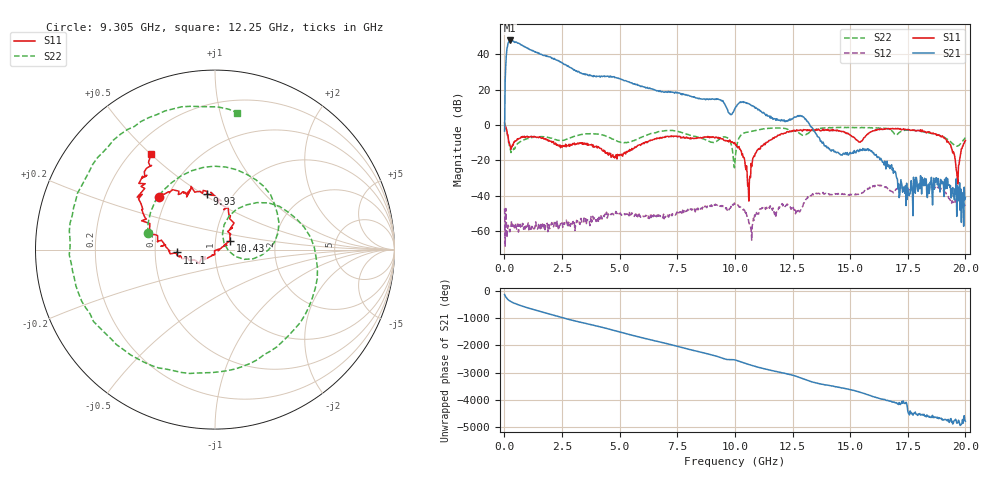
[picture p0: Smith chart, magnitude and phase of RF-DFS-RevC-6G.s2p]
!Agilent Technologies,E8363B,SG43030126,A.07.50.67
!Agilent E8363B: A.07.50.67
!Date: Thursday, May 04, 1989 06:40:03
!Correction: S11(Full 2 Port(1,2))
!S21(Full 2 Port(1,2))
!S12(Full 2 Port(1,2))
!S22(Full 2 Port(1,2))
!S2P File: Measurements: S11, S21, S12, S22:
# Hz S  dB  R 50
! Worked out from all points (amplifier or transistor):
!   801 points, 10 MHz to 20 GHz, reference 50 ohm
!   highest |S21| = 47.8 dB at 234.9 MHz (marker M1)
!   |S21| within 3 dB of that: 139.3 MHz to 798.4 MHz (659 MHz wide, 141 % of centre)
!   unconditionally stable (mu >= 1): 34.93 MHz to 36.14 MHz; 94.4 MHz to end of sweep
!   at 3.333 GHz: K = 4.71, MAG = 31.4 dB, |S12| = -52.8 dB
!   at 10.01 GHz: K = 25.83, MAG = 9.9 dB, |S12| = -44.6 dB
!   at 20 GHz: K = 7013.85, MAG = -39.4 dB, |S12| = -45.1 dB
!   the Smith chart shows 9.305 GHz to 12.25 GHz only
!   S11 on the Smith chart (normalised r, x): 9.305 GHz: 0.45, +0.32; 9.93 GHz: 0.76, +0.52; 10.43 GHz: 1.18, +0.12; 11.1 GHz: 0.65, -0.02; 12.25 GHz: 0.28, +0.50
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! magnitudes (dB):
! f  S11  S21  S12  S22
! 10 MHz  1.1  -3.4  -47.1  0.1
! 134.9 MHz  -5.7  44.5  -59.7  -5.5
! 234.9 MHz  -11.1  47.8  -60.3  -13.1
! 3.358 GHz  -10.0  29.1  -55.5  -5.3
! 4.833 GHz  -16.9  26.8  -48.8  -8.7
! 6.682 GHz  -7.3  19.4  -50.8  -3.7
! 9.305 GHz  -7.4  14.5  -45.3  -8.3
! 9.705 GHz  -8.8  7.4  -47.9  -7.6
! 9.93 GHz  -10.1  7.2  -45.2  -18.4
! 10.01 GHz  -10.4  9.4  -44.6  -20.4
! 10.43 GHz  -20.3  12.8  -48.3  -4.4
! 10.63 GHz  -30.9  11.8  -55.9  -3.8
! 11.1 GHz  -13.5  7.8  -47.3  -2.5
! 12.25 GHz  -3.9  2.1  -44.7  -2.2
! 13.35 GHz  -2.7  -1.6  -39.1  -3.2
! 14.23 GHz  -2.5  -14.2  -39.4  -1.4
! 15.43 GHz  -9.7  -13.7  -38.5  -1.5
! 16.68 GHz  -2.0  -23.7  -36.8  -2.3
! 17.48 GHz  -2.5  -42.0  -35.9  -2.9
! 19.03 GHz  -6.6  -32.0  -36.6  -6.6
! 19.65 GHz  -30.6  -34.3  -42.1  -11.9
! 20 GHz  -8.7  -40.9  -45.1  -7.2
